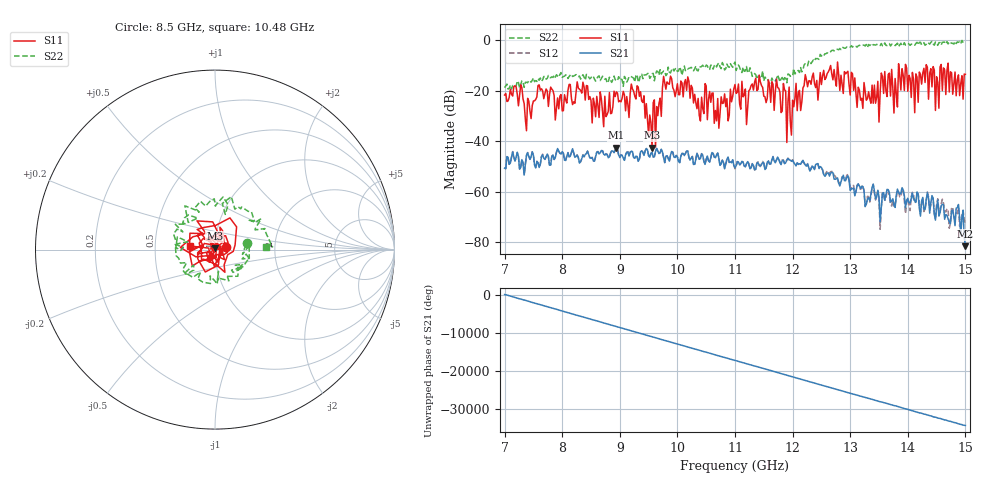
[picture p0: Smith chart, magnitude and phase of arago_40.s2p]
! 4/11/2025 3:32:41 PM
! C:\ANRITSUVNA\LELEC2350\LAB1_2025\GROUP1_40.S2P
! CHANNEL.1
! TR.MEASUREMENT
! CORRECTED.DATA
! RF.CORRECTION: FULL.TWO.PORT.CAL.PORT.1.2
! AVERAGING.OFF
! IF.BANDWIDTH: 300HZ
! SWEEPTYPE:  FREQ.SWEEP(Linear)
! Reference Plane Port Info
! PORT:  PORT1  PORT2
! DISTANCE:  0  m  0  m
! TIME:  0  s  0  s
! PHASE.OFFSET:  0 °  0 °
! LOSS:  0  dB  0  dB
! REF.LOSS:  0  dB  0  dB
! REF.FREQ:  0  Hz  0  Hz
! Power Info
! POWER:  5  dBm  5  dBm
! EFF.POWER:  5  dBm  5  dBm
# GHZ S RI R 50.0
! FREQ.GHZ  S11RE  S11IM  S21RE  S21IM  S12RE  S12IM  S22RE  S22IM
!; PortSelection: Port_12
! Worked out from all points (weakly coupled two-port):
!   401 points, 7 GHz to 15 GHz, reference 50 ohm
!   highest |S21| = -42.59 dB at 8.94 GHz (marker M1); lowest = -81.7 dB at 15 GHz (marker M2)
!   lowest |S11| = -42.6 dB at 9.56 GHz (marker M3), VSWR 1.01, Z = 49.9 + j0.73 ohm
!   |S11| at or under -10 dB: start of sweep to 12.66 GHz; 12.79 GHz to 13.84 GHz (1.054 GHz wide, 7.91 % of centre); 13.97 GHz to 14.32 GHz (352.5 MHz wide, 2.49 % of centre) (the widest 3 of 8)
!   |S22| runs from -19.3 to 0.0 dB; largest |S21 - S12| = 0.00032
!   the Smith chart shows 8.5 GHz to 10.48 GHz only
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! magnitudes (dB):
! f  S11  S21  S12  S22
! 7 GHz  -21.7  -50.7  -50.7  -18.7
! 7.4 GHz  -23.0  -44.6  -44.5  -16.8
! 7.62 GHz  -19.8  -49.1  -49.1  -14.9
! 7.92 GHz  -22.8  -42.9  -43.0  -14.1
! 8.34 GHz  -20.9  -46.9  -47.1  -14.4
! 8.74 GHz  -22.2  -45.5  -45.5  -15.4
! 8.94 GHz  -20.4  -42.6  -42.6  -15.8
! 9.34 GHz  -22.2  -47.1  -47.2  -15.7
! 9.56 GHz  -42.6  -44.5  -44.5  -13.2
! 9.68 GHz  -25.0  -44.9  -45.0  -13.8
! 9.86 GHz  -17.4  -47.9  -48.1  -12.7
! 10.42 GHz  -22.5  -45.0  -44.9  -10.4
! 10.58 GHz  -24.6  -46.5  -46.7  -9.8
! 10.68 GHz  -31.9  -45.4  -45.4  -10.5
! 11 GHz  -17.5  -50.5  -50.9  -8.6
! 11.74 GHz  -18.7  -46.3  -46.6  -13.7
! 11.94 GHz  -18.5  -47.4  -47.4  -13.5
! 12.34 GHz  -14.5  -49.8  -49.8  -8.5
! 13.48 GHz  -16.3  -59.5  -59.8  -1.7
! 13.68 GHz  -13.0  -60.4  -61.7  -1.3
! 14.86 GHz  -15.6  -66.4  -68.8  -0.6
! 15 GHz  -13.5  -81.7  -73.1  -0.8
